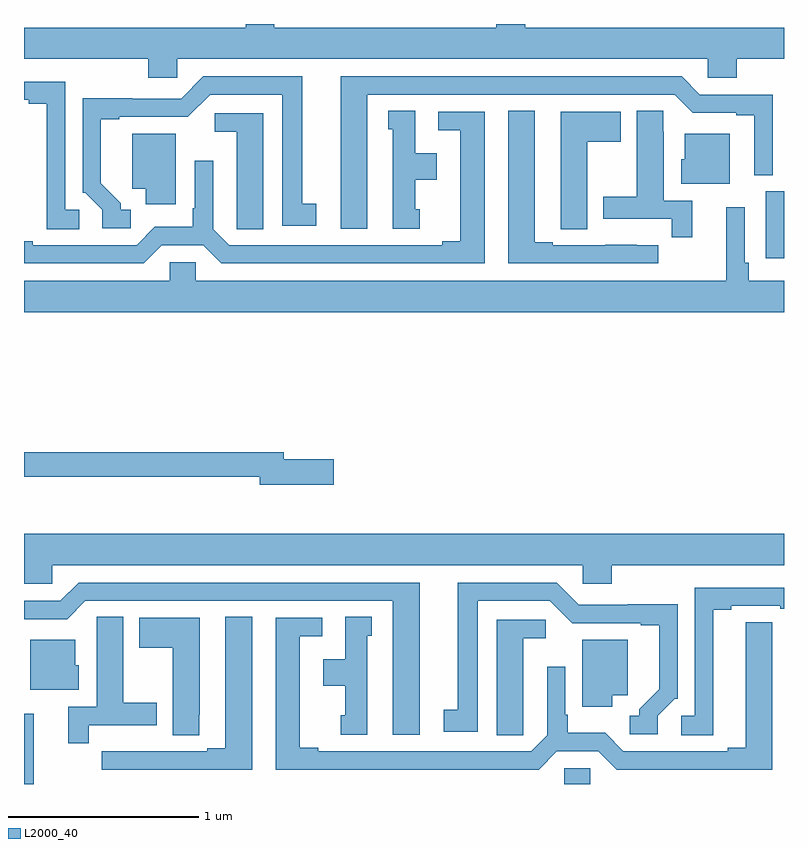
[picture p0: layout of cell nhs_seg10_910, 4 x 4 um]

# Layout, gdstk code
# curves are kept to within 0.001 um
import gdstk
lib = gdstk.Library(unit=1e-6, precision=1e-09)
def R(c, l, rs):  # rectangles x0, y0, x1, y1
    for r in rs: c.add(gdstk.rectangle(r[:2], r[2:], *l))
def P(c, l, *ps):  # polygons
    for p in ps: c.add(gdstk.Polygon(p, *l))
L2000_40 = (2000, 40)

nhs_seg10_910 = lib.new_cell('nhs_seg10_910')
R(nhs_seg10_910, L2000_40, [(157,1296.5,157.052,1296.871), (159.843,1296.5,159.981,1296.582), (160.904,1299.267,161,1299.619)])
P(nhs_seg10_910, L2000_40, [(157.806,1300.316),(160.599,1300.316),(160.599,1300.218),(160.751,1300.218),(160.751,1300.316),(161,1300.316),(161,1300.48),(159.638,1300.48),(159.638,1300.5),(159.485,1300.5),(159.485,1300.48),(158.318,1300.48),(158.318,1300.5),(158.166,1300.5),(158.166,1300.48),(157,1300.48),(157,1300.316),(157.655,1300.316),(157.655,1300.218),(157.806,1300.218)],
  [(157.561,1299.522),(157.51,1299.522),(157.51,1299.557),(157.405,1299.662),(157.405,1299.999),(157.501,1299.999),(157.501,1300.011),(157.863,1300.011),(157.98,1300.128),(158.36,1300.128),(158.36,1299.438),(158.539,1299.438),(158.539,1299.554),(158.464,1299.554),(158.464,1300.224),(157.944,1300.224),(157.827,1300.107),(157.571,1300.107),(157.571,1300.109),(157.308,1300.109),(157.308,1299.612),(157.323,1299.612),(157.413,1299.522),(157.413,1299.426),(157.561,1299.426)],
  [(158.806,1300.128),(160.425,1300.128),(160.521,1300.032),(160.748,1300.032),(160.748,1300.02),(160.844,1300.02),(160.844,1299.704),(160.941,1299.704),(160.941,1300.128),(160.557,1300.128),(160.461,1300.224),(158.666,1300.224),(158.666,1299.423),(158.806,1299.423)],
  [(157.291,1299.522),(157.218,1299.522),(157.218,1300.197),(157,1300.197),(157,1300.101),(157.025,1300.101),(157.025,1300.081),(157.121,1300.081),(157.121,1299.421),(157.291,1299.421)],
  [(159.082,1299.525),(159.058,1299.525),(159.058,1299.68),(159.172,1299.68),(159.172,1299.82),(159.058,1299.82),(159.058,1300.043),(158.918,1300.043),(158.918,1299.945),(158.942,1299.945),(158.942,1299.423),(159.082,1299.423)],
  [(160.339,1299.336),(160.226,1299.336),(160.226,1299.337),(160.06,1299.337),(160.06,1299.336),(159.784,1299.336),(159.784,1299.351),(159.688,1299.351),(159.688,1300.043),(159.548,1300.043),(159.548,1299.24),(160.339,1299.24)],
  [(160.517,1299.57),(160.366,1299.57),(160.366,1299.932),(160.365,1299.932),(160.365,1300.043),(160.226,1300.043),(160.226,1299.591),(160.049,1299.591),(160.049,1299.474),(160.408,1299.474),(160.408,1299.378),(160.517,1299.378)],
  [(159.964,1299.88),(160.141,1299.88),(160.141,1300.039),(159.824,1300.039),(159.824,1299.529),(159.825,1299.529),(159.825,1299.421),(159.964,1299.421)],
  [(157.725,1299.336),(157.943,1299.336),(158.039,1299.24),(159.424,1299.24),(159.424,1300.038),(159.18,1300.038),(159.18,1299.942),(159.296,1299.942),(159.296,1299.356),(159.2,1299.356),(159.2,1299.336),(158.079,1299.336),(157.995,1299.42),(157.995,1299.781),(157.899,1299.781),(157.899,1299.529),(157.887,1299.529),(157.887,1299.432),(157.689,1299.432),(157.593,1299.336),(157.045,1299.336),(157.045,1299.356),(157,1299.356),(157,1299.24),(157.629,1299.24)],
  [(158.26,1300.029),(158.004,1300.029),(158.004,1299.932),(158.12,1299.932),(158.12,1299.529),(158.121,1299.529),(158.121,1299.421),(158.26,1299.421)],
  [(157.798,1299.922),(157.571,1299.922),(157.571,1299.632),(157.64,1299.632),(157.64,1299.552),(157.798,1299.552)],
  [(160.714,1299.922),(160.478,1299.922),(160.478,1299.789),(160.46,1299.789),(160.46,1299.659),(160.714,1299.659)],
  [(161,1299.148),(160.814,1299.148),(160.814,1299.244),(160.794,1299.244),(160.794,1299.535),(160.697,1299.535),(160.697,1299.148),(157.905,1299.148),(157.905,1299.246),(157.767,1299.246),(157.767,1299.148),(157,1299.148),(157,1298.984),(161,1298.984)],
  [(158.629,1298.21),(158.368,1298.21),(158.368,1298.246),(157,1298.246),(157,1298.118),(158.24,1298.118),(158.24,1298.075),(158.629,1298.075)],
  [(157.149,1297.652),(159.942,1297.652),(159.942,1297.554),(160.094,1297.554),(160.094,1297.652),(161,1297.652),(161,1297.816),(157,1297.816),(157,1297.554),(157.149,1297.554)],
  [(159.082,1297.56),(157.287,1297.56),(157.191,1297.464),(157,1297.464),(157,1297.368),(157.227,1297.368),(157.323,1297.464),(158.942,1297.464),(158.942,1296.759),(159.082,1296.759)],
  [(160.335,1296.858),(160.425,1296.948),(160.44,1296.948),(160.44,1297.445),(160.177,1297.445),(160.177,1297.443),(159.921,1297.443),(159.804,1297.56),(159.284,1297.56),(159.284,1296.89),(159.21,1296.89),(159.21,1296.774),(159.388,1296.774),(159.388,1297.464),(159.768,1297.464),(159.885,1297.347),(160.247,1297.347),(160.247,1297.335),(160.343,1297.335),(160.343,1296.998),(160.238,1296.893),(160.238,1296.858),(160.188,1296.858),(160.188,1296.762),(160.335,1296.762)],
  [(160.627,1297.417),(160.723,1297.417),(160.723,1297.437),(160.979,1297.437),(160.979,1297.422),(161,1297.422),(161,1297.533),(160.53,1297.533),(160.53,1296.858),(160.458,1296.858),(160.458,1296.757),(160.627,1296.757)],
  [(157.34,1296.81),(157.699,1296.81),(157.699,1296.927),(157.522,1296.927),(157.522,1297.379),(157.383,1297.379),(157.383,1297.268),(157.382,1297.268),(157.382,1296.906),(157.232,1296.906),(157.232,1296.714),(157.34,1296.714)],
  [(158.2,1297.379),(158.06,1297.379),(158.06,1296.687),(157.964,1296.687),(157.964,1296.672),(157.688,1296.672),(157.688,1296.673),(157.522,1296.673),(157.522,1296.672),(157.41,1296.672),(157.41,1296.576),(158.2,1296.576)],
  [(158.806,1297.281),(158.83,1297.281),(158.83,1297.379),(158.69,1297.379),(158.69,1297.156),(158.576,1297.156),(158.576,1297.016),(158.69,1297.016),(158.69,1296.861),(158.666,1296.861),(158.666,1296.759),(158.806,1296.759)],
  [(157.923,1296.865),(157.924,1296.865),(157.924,1297.375),(157.607,1297.375),(157.607,1297.216),(157.784,1297.216),(157.784,1296.757),(157.923,1296.757)],
  [(159.805,1296.672),(160.023,1296.672),(160.119,1296.576),(160.939,1296.576),(160.938,1297.352),(160.799,1297.352),(160.799,1296.692),(160.703,1296.692),(160.703,1296.672),(160.155,1296.672),(160.058,1296.769),(159.862,1296.769),(159.862,1296.865),(159.849,1296.865),(159.849,1297.117),(159.753,1297.117),(159.753,1296.756),(159.669,1296.672),(158.548,1296.672),(158.548,1296.692),(158.452,1296.692),(158.452,1297.278),(158.569,1297.278),(158.569,1297.374),(158.324,1297.374),(158.324,1296.576),(159.709,1296.576)],
  [(159.627,1296.865),(159.628,1296.865),(159.628,1297.268),(159.745,1297.268),(159.745,1297.365),(159.488,1297.365),(159.488,1296.757),(159.627,1296.757)],
  [(157.288,1297.125),(157.27,1297.125),(157.27,1297.258),(157.034,1297.258),(157.034,1296.995),(157.288,1296.995)],
  [(160.096,1296.968),(160.177,1296.968),(160.177,1297.258),(159.938,1297.258),(159.938,1296.906),(160.096,1296.906)])

lib.write_gds('nhs_seg10_910.gds')
